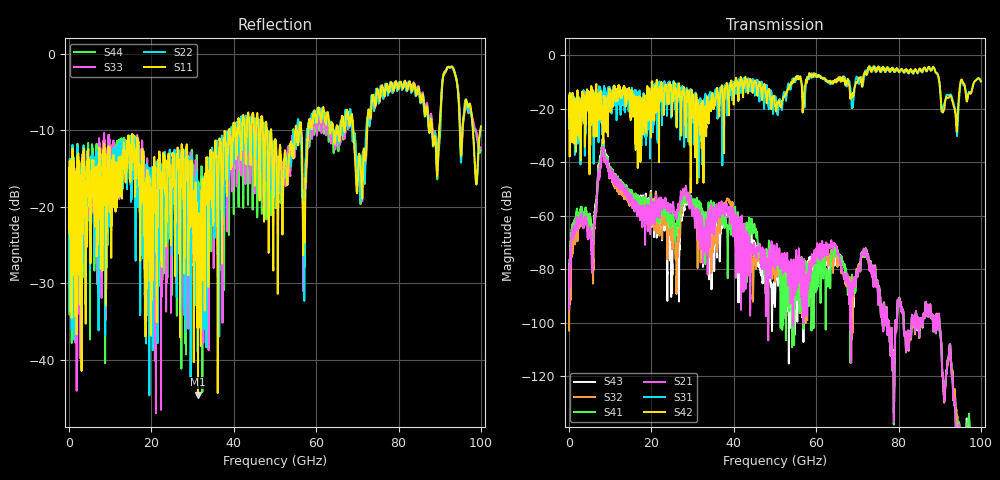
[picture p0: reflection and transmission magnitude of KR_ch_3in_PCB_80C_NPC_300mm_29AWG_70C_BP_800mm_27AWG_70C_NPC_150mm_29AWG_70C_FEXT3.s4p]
# Hz S RI R 45
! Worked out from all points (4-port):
!   4000 points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, 25 MHz to 100 GHz, reference 45 ohm
!   strongest paths, dB at 25 MHz, 25.02 GHz, 50.02 GHz, 75.03 GHz, 100 GHz:
!     S42: -20.7, -20.7, -18.8, -4.2, -9.7
!     S31: -20.7, -14.8, -15.8, -5.0, -9.6
!     S21: -95.2, -57.5, -78.7, -90.8, -159.1
!     S41: -94.5, -61.5, -78.3, -90.7, -154.9
!     S32: -103.0, -67.2, -81.9, -90.6, -161.2
!     S43: -95.1, -89.0, -92.1, -90.5, -165.4
!   lowest |S11| = -44.5 dB at 31.32 GHz (marker M1), VSWR 1.01, Z = 44.5 - j0.116 ohm
!   |S11| at or under -10 dB: start of sweep to 38.74 GHz; 49.09 GHz to 54.99 GHz (5.9 GHz wide, 11.3 % of centre); 69.01 GHz to 72.38 GHz (3.369 GHz wide, 4.77 % of centre) (the widest 3 of 25)
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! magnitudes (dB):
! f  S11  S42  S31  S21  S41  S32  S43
! 25 MHz  -16.6  -20.7  -20.7  -95.2  -94.5  -103.0  -95.1
! 5.825 GHz  -15.1  -14.9  -16.7  -71.6  -68.4  -83.9  -67.3
! 8.225 GHz  -16.1  -21.2  -15.1  -34.5  -32.9  -33.0  -31.6
! 24.68 GHz  -19.0  -12.6  -14.3  -56.0  -60.6  -65.1  -71.3
! 31.32 GHz  -44.5  -18.5  -21.1  -60.4  -55.6  -62.5  -57.1
! 46.83 GHz  -8.3  -16.1  -10.0  -79.9  -76.9  -77.5  -80.3
! 100 GHz  -9.5  -9.7  -9.6  -159.1  -154.9  -161.2  -165.4
